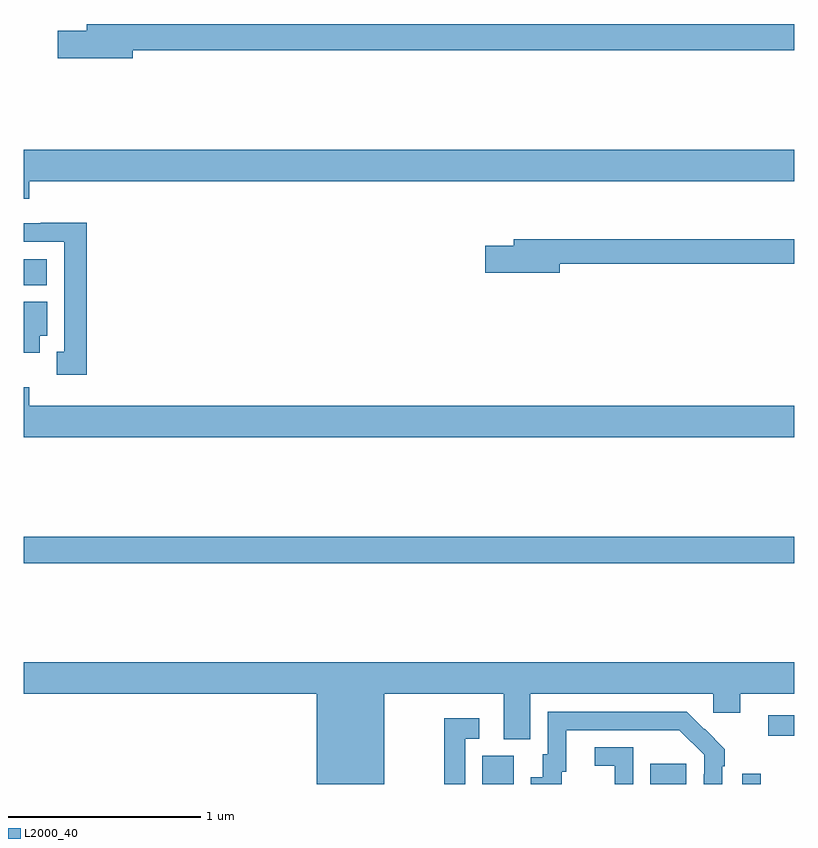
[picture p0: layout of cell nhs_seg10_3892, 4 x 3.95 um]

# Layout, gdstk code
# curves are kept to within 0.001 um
import gdstk
lib = gdstk.Library(unit=1e-6, precision=1e-09)
def R(c, l, rs):  # rectangles x0, y0, x1, y1
    for r in rs: c.add(gdstk.rectangle(r[:2], r[2:], *l))
def P(c, l, *ps):  # polygons
    for p in ps: c.add(gdstk.Polygon(p, *l))
L2000_40 = (2000, 40)

nhs_seg10_3892 = lib.new_cell('nhs_seg10_3892')
R(nhs_seg10_3892, L2000_40, [(327.38,1314.5,327.544,1314.648), (328.253,1314.5,328.441,1314.604), (328.731,1314.5,328.827,1314.553), (328.866,1314.75,329,1314.858), (325,1315.648,329,1315.784), (325,1317.092,325.117,1317.226)])
P(nhs_seg10_3892, L2000_40, [(325.564,1318.312),(329,1318.312),(329,1318.448),(325.325,1318.448),(325.325,1318.412),(325.176,1318.412),(325.176,1318.27),(325.564,1318.27)],
  [(325.028,1317.632),(329,1317.632),(329,1317.796),(325,1317.796),(325,1317.539),(325.028,1317.539)],
  [(325.327,1317.416),(325.086,1317.416),(325.086,1317.414),(325,1317.414),(325,1317.318),(325.208,1317.318),(325.208,1316.745),(325.169,1316.745),(325.169,1316.625),(325.327,1316.625)],
  [(327.784,1317.202),(329,1317.202),(329,1317.331),(327.545,1317.331),(327.545,1317.297),(327.396,1317.297),(327.396,1317.155),(327.784,1317.155)],
  [(325.081,1316.828),(325.12,1316.828),(325.12,1317.004),(325,1317.004),(325,1316.741),(325.081,1316.741)],
  [(329,1316.464),(325.028,1316.464),(325.028,1316.56),(325,1316.56),(325,1316.3),(329,1316.3)],
  [(326.872,1314.968),(327.491,1314.968),(327.491,1314.733),(327.631,1314.733),(327.631,1314.968),(328.581,1314.968),(328.581,1314.87),(328.72,1314.87),(328.72,1314.968),(329,1314.968),(329,1315.132),(325,1315.132),(325,1314.968),(326.522,1314.968),(326.522,1314.5),(326.872,1314.5)],
  [(327.793,1314.564),(327.817,1314.564),(327.817,1314.78),(328.405,1314.78),(328.533,1314.651),(328.533,1314.551),(328.53,1314.551),(328.53,1314.5),(328.626,1314.5),(328.626,1314.593),(328.641,1314.593),(328.641,1314.681),(328.444,1314.876),(327.72,1314.876),(327.72,1314.654),(327.695,1314.654),(327.695,1314.535),(327.632,1314.535),(327.632,1314.5),(327.793,1314.5)],
  [(327.291,1314.735),(327.364,1314.735),(327.364,1314.841),(327.183,1314.841),(327.183,1314.5),(327.291,1314.5)],
  [(328.164,1314.69),(327.966,1314.69),(327.966,1314.594),(328.068,1314.594),(328.068,1314.5),(328.164,1314.5)])

lib.write_gds('nhs_seg10_3892.gds')
